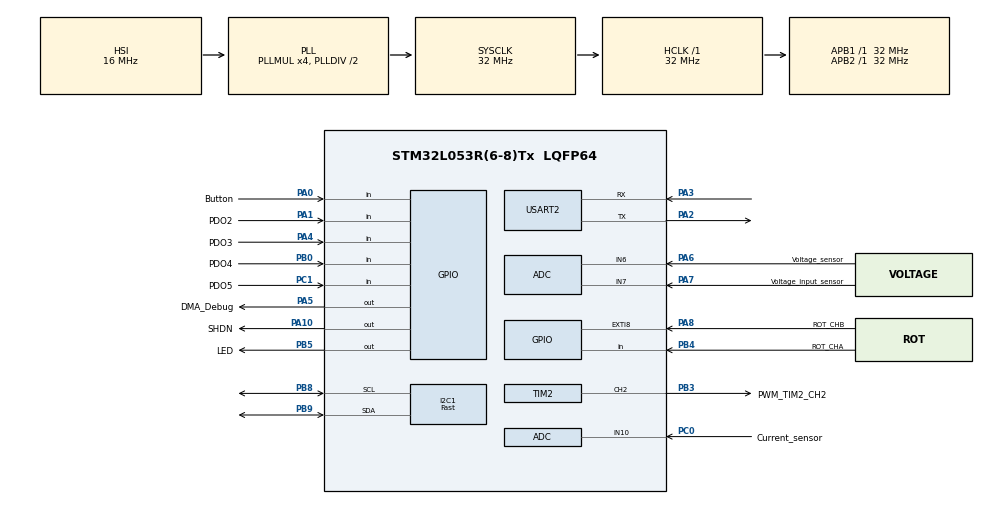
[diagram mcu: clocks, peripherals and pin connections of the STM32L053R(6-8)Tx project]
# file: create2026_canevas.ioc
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ADC.ClockPrescaler=ADC_CLOCK_SYNC_PCLK_DIV2
ADC.ContinuousConvMode=DISABLE
ADC.DMAContinuousRequests=ENABLE
ADC.DiscontinuousConvMode=DISABLE
ADC.EOCSelection=ADC_EOC_SINGLE_CONV
ADC.ExternalTrigConv=ADC_EXTERNALTRIGCONV_T22_TRGO
ADC.ExternalTrigConvEdge=ADC_EXTERNALTRIGCONVEDGE_RISING
ADC.SamplingTime=ADC_SAMPLETIME_79CYCLES_5
Dma.ADC.0.Direction=DMA_PERIPH_TO_MEMORY
Dma.ADC.0.Instance=DMA1_Channel1
Dma.ADC.0.MemDataAlignment=DMA_MDATAALIGN_HALFWORD
Dma.ADC.0.MemInc=DMA_MINC_ENABLE
Dma.ADC.0.Mode=DMA_CIRCULAR
Dma.ADC.0.PeriphDataAlignment=DMA_PDATAALIGN_HALFWORD
Dma.ADC.0.PeriphInc=DMA_PINC_DISABLE
Dma.ADC.0.Priority=DMA_PRIORITY_VERY_HIGH
Dma.Request0=ADC
Dma.Request1=TIM2_CH2
Dma.TIM2_CH2.1.Direction=DMA_MEMORY_TO_PERIPH
Dma.TIM2_CH2.1.Instance=DMA1_Channel3
Dma.TIM2_CH2.1.MemDataAlignment=DMA_MDATAALIGN_HALFWORD
Dma.TIM2_CH2.1.MemInc=DMA_MINC_ENABLE
Dma.TIM2_CH2.1.Mode=DMA_CIRCULAR
Dma.TIM2_CH2.1.PeriphDataAlignment=DMA_PDATAALIGN_HALFWORD
Dma.TIM2_CH2.1.PeriphInc=DMA_PINC_DISABLE
Dma.TIM2_CH2.1.Priority=DMA_PRIORITY_HIGH
I2C1.I2C_Speed_Mode=I2C_Fast
I2C1.Timing=0x0060112F
Mcu.Family=STM32L0
Mcu.Name=STM32L053R(6-8)Tx
Mcu.Package=LQFP64
NVIC.ADC1_COMP_IRQn=true\:0\:0\:false\:false\:true\:true\:true\:true
NVIC.DMA1_Channel1_IRQn=true\:0\:0\:false\:false\:true\:false\:true\:true
NVIC.DMA1_Channel2_3_IRQn=true\:0\:0\:false\:false\:true\:false\:true\:true
NVIC.EXTI4_15_IRQn=true\:2\:0\:true\:false\:true\:true\:true\:true
NVIC.TIM22_IRQn=true\:0\:0\:false\:false\:true\:true\:true\:true
NVIC.TIM2_IRQn=true\:0\:0\:false\:false\:true\:true\:true\:true
PA0.GPIO_Label=Button
PA0.GPIO_PuPd=GPIO_PULLUP
PA0.Signal=GPIO_Input
PA1.GPIO_Label=PDO2
PA1.GPIO_PuPd=GPIO_PULLUP
PA1.Signal=GPIO_Input
PA10.GPIO_Label=SHDN
PA10.PinState=GPIO_PIN_SET
PA10.Signal=GPIO_Output
PA2.Mode=Asynchronous
PA2.Signal=USART2_TX
PA3.Mode=Asynchronous
PA3.Signal=USART2_RX
PA4.GPIO_Label=PDO3
PA4.GPIO_PuPd=GPIO_PULLUP
PA4.Signal=GPIO_Input
PA5.GPIO_Label=DMA_Debug
PA5.Signal=GPIO_Output
PA6.GPIO_Label=Voltage_sensor
PA6.Mode=IN6
PA6.Signal=ADC_IN6
PA7.GPIO_Label=Voltage_input_sensor
PA7.Mode=IN7
PA7.Signal=ADC_IN7
PA8.GPIO_Label=ROT_CHB
PA8.GPIO_ModeDefaultEXTI=GPIO_MODE_IT_RISING_FALLING
PA8.GPIO_PuPd=GPIO_PULLUP
PA8.Signal=GPXTI8
PB0.GPIO_Label=PDO4
PB0.GPIO_PuPd=GPIO_PULLUP
PB0.Signal=GPIO_Input
PB3.GPIO_Label=PWM_TIM2_CH2
PB3.Signal=S_TIM2_CH2
PB4.GPIO_Label=ROT_CHA
PB4.GPIO_PuPd=GPIO_PULLUP
PB4.Signal=GPIO_Input
PB5.GPIO_Label=LED
PB5.GPIO_ModeDefaultOutputPP=GPIO_MODE_OUTPUT_PP
PB5.GPIO_PuPd=GPIO_NOPULL
PB5.PinState=GPIO_PIN_RESET
PB5.Signal=GPIO_Output
PB8.Mode=I2C
PB8.Signal=I2C1_SCL
PB9.Mode=I2C
PB9.Signal=I2C1_SDA
PC0.GPIO_Label=Current_sensor
PC0.Mode=IN10
PC0.Signal=ADC_IN10
PC1.GPIO_Label=PDO5
PC1.GPIO_PuPd=GPIO_PULLUP
PC1.Signal=GPIO_Input
ProjectManager.HeapSize=0x200
ProjectManager.StackSize=0x400
ProjectManager.TargetToolchain=STM32CubeIDE
RCC.AHBFreq_Value=32000000
RCC.APB1Freq_Value=32000000
RCC.APB1TimFreq_Value=32000000
RCC.APB2Freq_Value=32000000
RCC.APB2TimFreq_Value=32000000
RCC.HCLKFreq_Value=32000000
RCC.HSE_VALUE=8000000
RCC.HSI16_VALUE=16000000
RCC.HSI48_VALUE=48000000
RCC.HSI_VALUE=16000000
RCC.LSE_VALUE=32768
RCC.MSI_VALUE=2097000
RCC.PLLMUL=RCC_PLLMUL_4
RCC.SYSCLKFreq_VALUE=32000000
RCC.SYSCLKSource=RCC_SYSCLKSOURCE_PLLCLK
RCC.VCOOutputFreq_Value=64000000
SH.S_TIM2_CH2.0=TIM2_CH2,PWM Generation2 CH2
TIM2.AutoReloadPreload=TIM_AUTORELOAD_PRELOAD_ENABLE
TIM2.Channel-PWM\ Generation2\ CH2=TIM_CHANNEL_2
TIM2.Period=256-1
TIM2.Pulse-PWM\ Generation2\ CH2=0
TIM2.TIM_MasterOutputTrigger=TIM_TRGO_UPDATE
TIM22.AutoReloadPreload=TIM_AUTORELOAD_PRELOAD_ENABLE
TIM22.Channel-Output\ Compare1\ No\ Output=TIM_CHANNEL_1
TIM22.OC1Preload=DISABLE
TIM22.Period=32-1
TIM22.Prescaler=1-1
TIM22.Pulse-Output\ Compare1\ No\ Output=0
TIM22.TIM_MasterOutputTrigger=TIM_TRGO_UPDATE
USART2.VirtualMode-Asynchronous=VM_ASYNC
VP_TIM22_VS_ClockSourceITR.Mode=TriggerSource_ITR1
VP_TIM22_VS_ControllerModeClock.Mode=Clock Mode
VP_TIM22_VS_no_output1.Mode=Output Compare1 No Output
board=custom

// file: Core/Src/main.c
/* USER CODE BEGIN Header */
/**
 ******************************************************************************
 * @file           : main.c
 * @brief          : Main program body
 ******************************************************************************
 * @attention
 *
 * Copyright (c) 2026 STMicroelectronics.
 * All rights reserved.
 *
 * This software is licensed under terms that can be found in the LICENSE file
 * in the root directory of this software component.
 * If no LICENSE file comes with this software, it is provided AS-IS.
 *
 ******************************************************************************
 */
/* USER CODE END Header */
#include "main.h"
#include "adc.h"
#include "dma.h"
#include "i2c.h"
#include "tim.h"
#include "usart.h"
#include "gpio.h"

/* USER CODE BEGIN Includes */
#include <string.h>
#include <stdio.h>
#include <stdbool.h>
#include <math.h>
#include "ssd1306/ssd1306.h"
/* USER CODE END Includes */

/* USER CODE BEGIN PD */
#define ADC_BUF_LEN 3

#define PWM_BUFFER_SIZE 32
#define PWM_HALFBUFFER_SIZE 16
#define DITHER_RES 8

#define COR_ALPHA_BUFFER_SIZE 3
#define COR_VMES_BUFFER_SIZE 3
#define COR_VMI_BUFFER_SIZE 3
#define COR_VREF_BUFFER_SIZE 3
#define COR_VCONTRE_BUFFER_SIZE 3
#define COR_VREFPRIME_BUFFER_SIZE 3
#define COR_EPSILON_BUFFER_SIZE 3

#define NB_ECRAN 4

#define SCALE 65536
enum rotary_direction {
	DIRECTION_NONE, DIRECTION_CW, DIRECTION_CCW, NUM_OF_DIRECTIONS
};

/* USER CODE END PD */

/* USER CODE BEGIN PV */
static uint8_t rotary_state;
static uint8_t rotary_counter = 0;
static int8_t rotary_direction = DIRECTION_NONE;

static uint8_t ecran = 0;

static bool btn = true;
static bool prev_btn = true;

uint32_t voltage_in_ADC = 0;
uint32_t voltage_out_ADC = 0;
uint32_t current_ADC = 0;

float voltage_in = 0;
float voltage_out = 0;
float current = 0;
float voltage_ref = 0;
float power = 0;
float energy = 0;

uint16_t adc_buf[ADC_BUF_LEN];

uint32_t corAlpha[COR_ALPHA_BUFFER_SIZE];
uint32_t corVref[COR_VMES_BUFFER_SIZE];
uint32_t corVmes[COR_VREF_BUFFER_SIZE];

//float Hz[] = { 0, 35.28, 18.32, 0.9834, 0.2503 };
//float Gz[] = { 0.09683, 0.07675, 0, -1.326, 0.4996 };
//float Fz[] = { 1.284, 0.5245, 0, 0.6743, 0.1345 };
//float Cz[] = { 0.01865, 0.01834, 0.004668, 0, 0 };
double PIDFz[] = { 0.003238, 0.003184, 0.0008103, -1.44, 0.4403 };
#define P0f 0.003238f
#define P1f 0.003184f
#define P2f 0.0008103f
#define P3f -1.44f
#define P4f 0.4403f

uint32_t P0 = 212;
uint32_t P1 = 209;
uint32_t P2 = 53;
uint32_t P3 = 94372;
uint32_t P4 = 28856;

uint8_t ComputeControle = 0;
uint8_t BoucleFermee = 0;

// Tramage (dithering)
uint16_t pwm_buffer[PWM_BUFFER_SIZE];
uint8_t pwm_pulse = 0;

/* USER CODE END PV */

void SystemClock_Config(void);
/* USER CODE BEGIN PFP */

// Human interface
void Update_Display(void);

// USB Power Delivery requests
uint8_t Read_USB_PDO(void);
void Test_STUSB_I2C(void);
void Set_STUSB_Available_Profiles(uint8_t num_profiles);

// Voltage controller
uint8_t Compute_control_input(uint32_t Vref, uint32_t Vmes);
void TransferComplete(DMA_HandleTypeDef *hdma);
void TransferHalfComplete(DMA_HandleTypeDef *hdma);

/* USER CODE END PFP */

int main(void) {

	/* MCU Configuration--------------------------------------------------------*/

	/* Reset of all peripherals, Initializes the Flash interface and the Systick. */
	HAL_Init();

	/* Configure the system clock */
	SystemClock_Config();

	/* Initialize all configured peripherals */
	MX_GPIO_Init();
	MX_DMA_Init();
	MX_ADC_Init();
	MX_I2C1_Init();
	MX_USART2_UART_Init();
	MX_TIM2_Init();
	MX_TIM22_Init();

	/* USER CODE BEGIN 2 */

	// Initialize screen
	ssd1306_Init();
	ssd1306_Fill(Black);
	ssd1306_UpdateScreen();

	HAL_TIM_PWM_Start(&htim2, TIM_CHANNEL_3);

	HAL_ADC_Start_DMA(&hadc, (uint32_t*) adc_buf, ADC_BUF_LEN);

	// Start PWM timer
	HAL_TIM_PWM_Start_DMA(&htim2, TIM_CHANNEL_2, (uint32_t*) pwm_buffer,
	PWM_BUFFER_SIZE);

	// Start main timer
	htim2.hdma[TIM_DMA_ID_CC2]->XferCpltCallback = TransferComplete;
	htim2.hdma[TIM_DMA_ID_CC2]->XferHalfCpltCallback = TransferHalfComplete;
	HAL_TIM_Base_Start_IT(&htim22);

	// Switch off user LED
	HAL_GPIO_WritePin(LED_GPIO_Port, LED_Pin, 0);

	//Enable MP8040 pin PA10 (activation V sortie )
	HAL_GPIO_WritePin(SHDN_GPIO_Port, SHDN_Pin, 0);

	for (int i = 0; i < COR_ALPHA_BUFFER_SIZE; i++) {
		corAlpha[i] = 0;
	}
	for (int i = 0; i < COR_VREF_BUFFER_SIZE; i++) {
		corVref[i] = 0;
	}

	for (int i = 0; i < COR_VMES_BUFFER_SIZE; i++) {
		corVmes[i] = 0;
	}

	/* USER CODE END 2 */

	/* Infinite loop */
	while (1) {

		/* USER CODE BEGIN 3 */

		//MàJ bouton
		prev_btn = btn;
		btn = HAL_GPIO_ReadPin(Button_GPIO_Port, Button_Pin);

		// 1.1 Menu et navigation
		Update_Display();

		/* Reading PDOs TOR inputs
		 * Code :
		 *  PDO = 0x000ABCD
		 *  A = PDO2
		 *  B = PDO3
		 *  C = PDO4
		 *  D = PDO5
		 */
		uint8_t PDO2 = HAL_GPIO_ReadPin(PDO2_GPIO_Port, PDO2_Pin);
		uint8_t PDO3 = HAL_GPIO_ReadPin(PDO3_GPIO_Port, PDO3_Pin);
		uint8_t PDO4 = HAL_GPIO_ReadPin(PDO4_GPIO_Port, PDO4_Pin);
		uint8_t PDO5 = HAL_GPIO_ReadPin(PDO5_GPIO_Port, PDO5_Pin);
		uint8_t PDO = (PDO5 << 3) | (PDO4 << 2) | (PDO3 << 1) | PDO2;

		/* Decoding PDOs
		 *  PDO2 = 5V
		 *  PDO3 = 9V
		 *  PDO4 = 12V
		 *  PDO5 = 15V
		 */
		switch (PDO) {
		case 0b00001110:
			voltage_ref = 5;
			break;
		case 0b00001101:
			voltage_ref = 9;
			break;
		case 0b00001011:
			voltage_ref = 12;
			break;
		case 0b00000111:
			voltage_ref = 15;
			break;
		}
		/*
		 if (ComputeControle) {
		 ComputeControle = 0;

		 uint32_t controle = Compute_control_input(voltage_ref, voltage_out);
		 pwm_pulse = (uint8_t) controle;

		 if (ComputeControle) {
		 printf("Not real time");
		 }
		 }
		 */

		// TODO
		// 4.1 Lecture PDO et asservissement
		// TODO
		// 2.3 Calcul énergie et Puissance
		power = voltage_out * current;//(W)
		energy += power * 0.025;		//(J)

		// Delay
		HAL_Delay(25);
	}
	/* USER CODE END 3 */
}

void SystemClock_Config(void) {
	RCC_OscInitTypeDef RCC_OscInitStruct = { 0 };
	RCC_ClkInitTypeDef RCC_ClkInitStruct = { 0 };
	RCC_PeriphCLKInitTypeDef PeriphClkInit = { 0 };

	/** Configure the main internal regulator output voltage
	 */
	__HAL_PWR_VOLTAGESCALING_CONFIG(PWR_REGULATOR_VOLTAGE_SCALE1);

	/** Initializes the RCC Oscillators according to the specified parameters
	 * in the RCC_OscInitTypeDef structure.
	 */
	RCC_OscInitStruct.OscillatorType = RCC_OSCILLATORTYPE_HSI;
	RCC_OscInitStruct.HSIState = RCC_HSI_ON;
	RCC_OscInitStruct.HSICalibrationValue = RCC_HSICALIBRATION_DEFAULT;
	RCC_OscInitStruct.PLL.PLLState = RCC_PLL_ON;
	RCC_OscInitStruct.PLL.PLLSource = RCC_PLLSOURCE_HSI;
	RCC_OscInitStruct.PLL.PLLMUL = RCC_PLLMUL_4;
	RCC_OscInitStruct.PLL.PLLDIV = RCC_PLLDIV_2;
	if (HAL_RCC_OscConfig(&RCC_OscInitStruct) != HAL_OK) {
		Error_Handler();
	}

	/** Initializes the CPU, AHB and APB buses clocks
	 */
	RCC_ClkInitStruct.ClockType = RCC_CLOCKTYPE_HCLK | RCC_CLOCKTYPE_SYSCLK
			| RCC_CLOCKTYPE_PCLK1 | RCC_CLOCKTYPE_PCLK2;
	RCC_ClkInitStruct.SYSCLKSource = RCC_SYSCLKSOURCE_PLLCLK;
	RCC_ClkInitStruct.AHBCLKDivider = RCC_SYSCLK_DIV1;
	RCC_ClkInitStruct.APB1CLKDivider = RCC_HCLK_DIV1;
	RCC_ClkInitStruct.APB2CLKDivider = RCC_HCLK_DIV1;

	if (HAL_RCC_ClockConfig(&RCC_ClkInitStruct, FLASH_LATENCY_1) != HAL_OK) {
		Error_Handler();
	}
	PeriphClkInit.PeriphClockSelection = RCC_PERIPHCLK_USART2
			| RCC_PERIPHCLK_I2C1;
	PeriphClkInit.Usart2ClockSelection = RCC_USART2CLKSOURCE_PCLK1;
	PeriphClkInit.I2c1ClockSelection = RCC_I2C1CLKSOURCE_PCLK1;
	if (HAL_RCCEx_PeriphCLKConfig(&PeriphClkInit) != HAL_OK) {
		Error_Handler();
	}
}

/* USER CODE BEGIN 4 */

/*** IHM ***/

/*** USB Power Delivery Objects ***/

void Test_STUSB_I2C(void) {
	char msg[60];
	uint8_t id;
	// Device I2C address : 0x28
	// Device ID register : 0x2F
	int ret = HAL_I2C_Mem_Read(&hi2c1, (0x28 << 1), 0x70, 1, &id, 1,
			0xFFFFFFFF);
	if (ret == HAL_OK) {
		sprintf(msg, "STUSB I2C test success\r\n");
	} else {
		sprintf(msg, "STUSB I2C test error %d\r\n", ret);
	}
	HAL_UART_Transmit(&huart2, (uint8_t*) msg, strlen(msg), HAL_MAX_DELAY);
}

void Set_STUSB_Available_Profiles(uint8_t num_profiles) {
	// TODO
	// 4.3 Programmation PDOs

	/** Documentation for write number of available profiles
	 * I2C communication:
	 * Use HAL_I2C_Mem_Read and HAL_I2C_Mem_Write functions to directly read/write into register
	 * WRN: Device address is 0x28 but should be passed shifted (0x28 << 1) to those functions
	 * Cf. Test_STUSB_I2C function
	 *
	 * Register 0x70 DPM_PDO_NUMB
	 * bit [7:5] DPM_SRC_PDO_NUMB <--- Number of source profiles available
	 * bit [4:3] reserved
	 * bis [2:0] DPM_SNK_PDO_NUMB
	 *
	 * Procedure :
	 * 1) Set device into reset state : write 0x01 to register 0x23
	 * 2) Write new value to regsiter 0x70, for ex. 0xA3 to set all 5 profiles available (1010001)
	 * Or write for example 0x23 to set only one profile available (00100011)
	 * 3) Set device back to normal mode : write 0x04 to register 0x23
	 */
}

/*** Voltage controller ***/

uint8_t Compute_control_input(uint32_t Vref, uint32_t Vmes) {

	uint8_t pwm_result = 0;
	if(BoucleFermee)
	{
		// TODO
			// 3.2 Régulation

			// Shifting buffer
			corAlpha[2] = corAlpha[1];
			corAlpha[1] = corAlpha[0];
			corVmes[2] = corVmes[1];
			corVmes[1] = corVmes[0];
			corVref[2] = corVref[1];
			corVref[1] = corVref[0];

			// Storing new voltage valuesé
			corVref[0] = Vref;
			corVmes[0] = Vmes;

			// Computing alpha
			uint64_t eps0 = (uint64_t) ((corVref[0] - corVmes[0]) * 65536.0);
			uint64_t eps1 = (uint64_t) ((corVref[1] - corVmes[1]) * 65536.0);
			uint64_t eps2 = (uint64_t) ((corVref[2] - corVmes[2]) * 65536.0);

			uint64_t alpha1 = (uint64_t) ((corAlpha[1]) * 65536.0);
			uint64_t alpha2 = (uint64_t) ((corAlpha[2]) * 65536.0);

			uint64_t newAlpha = (P0 * eps0 + P1 * eps1 + P2 * eps2 + P3 * alpha1
					- P4 * alpha2) >> 16;
			/*
			 corVmi[0] = Hz[1] * corAlpha[1] + Hz[2] * corAlpha[2] - Hz[3] * corVmi[1]
			 - Hz[4] * corVmi[2];

			 corVcontre[0] = Fz[0] * (corVmes[0] - corVmi[0])
			 + Fz[1] * (corVmes[1] - corVmi[1]) - Fz[3] * corVcontre[1]
			 - Fz[4] * corVcontre[2];

			 corVrefprime[0] = Gz[0] * corVref[0] + Gz[1] * corVref[1]
			 - Gz[3] * corVrefprime[1] - Gz[4] * corVrefprime[2];

			 corAlpha[0] = Cz[0] * (corVrefprime[0] - corVcontre[0])
			 + Cz[1] * (corVrefprime[1] - corVcontre[1])
			 + Cz[2] * (corVrefprime[2] - corVcontre[2]);
			 */
			corAlpha[0] = (float) newAlpha / 65536.0;

			pwm_result = (uint8_t) (corAlpha[0] * 255.0);
			if (pwm_result > 255)
				pwm_result = 255;
			if (pwm_result < 0)
				pwm_result = 0;
	}else{
		pwm_result = (uint8_t)((voltage_ref/voltage_in)*255.0);
	}

	return pwm_result;
}

/*******************************************************************
 * INTERRUPTS
 *******************************************************************/

void HAL_ADC_ConvCpltCallback(ADC_HandleTypeDef *hadc) {

	// DONE
	// 2.1 Conversion Analogique-Numérique
	//Acquire ADC values
	voltage_in_ADC = adc_buf[1];
	voltage_out_ADC = adc_buf[0];
	current_ADC = adc_buf[2];

	// 2.2 Etalonage
	voltage_in = ((float) voltage_in_ADC - 62) / 134.4;
	voltage_out = ((float) voltage_out_ADC - 62) / 134.4;
	current = ((float)current_ADC*-0.003424)+14.02128;

	// TODO
	// 3.1 Gestion PWM
	//ComputeControle = 1;
	pwm_pulse = Compute_control_input(voltage_ref, voltage_out);
	// TODO
	// 4.2 Protection

}

void TransferComplete(DMA_HandleTypeDef *hdma) {
	//TODO
	// 3.3 Filtrage sortie

	for (int i = 0; i < PWM_HALFBUFFER_SIZE; i++) {
		pwm_buffer[i + PWM_HALFBUFFER_SIZE] = pwm_pulse;
	}
}

void TransferHalfComplete(DMA_HandleTypeDef *hdma) {
	//TODO
	// 3.3 Filtrage sortie

	for (int i = 0; i < PWM_HALFBUFFER_SIZE; i++) {
		pwm_buffer[i] = pwm_pulse;

	}
}

void Rotary_Encoder_Interrupt_Handler(void) {
	static int8_t rotary_buffer = 0;
	/* Check for rotary encoder turned clockwise or counter-clockwise */
	uint8_t rotary_new = HAL_GPIO_ReadPin(ROT_CHA_GPIO_Port, ROT_CHA_Pin) << 1;
	rotary_new += HAL_GPIO_ReadPin(ROT_CHB_GPIO_Port, ROT_CHB_Pin);
	if (rotary_new != rotary_state) {
		if (((rotary_state == 0b00) && (rotary_new == 0b10))
				|| ((rotary_state == 0b10) && (rotary_new == 0b11))
				|| ((rotary_state == 0b11) && (rotary_new == 0b01))
				|| ((rotary_state == 0b01) && (rotary_new == 0b00))) {
			rotary_buffer++;
		}
		if (((rotary_state == 0b00) && (rotary_new == 0b01))
				|| ((rotary_state == 0b01) && (rotary_new == 0b11))
				|| ((rotary_state == 0b11) && (rotary_new == 0b10))
				|| ((rotary_state == 0b10) && (rotary_new == 0b00))) {
			rotary_buffer--;
		}
		rotary_state = rotary_new;
		/* Filter rotation due to high number of positions */
		if (rotary_buffer > 2) {
			rotary_counter++;
			if (ecran < (NB_ECRAN - 1) * 10) {
				ecran = (ecran / 10 + 1) * 10;
			} else {
				ecran = 0;
			}

			rotary_direction = DIRECTION_CW;
			rotary_buffer = 0;
		}
		if (rotary_buffer < -2) {
			rotary_counter--;
			rotary_direction = DIRECTION_CCW;
			rotary_buffer = 0;
			if (ecran > 0) {
				ecran = (ecran / 10 - 1) * 10;
			} else {
				ecran = (NB_ECRAN - 1) * 10;
			}
		}

	}
}

void Update_Display(void) {
	//Préparation affichages
	char line1_str[20] = { 0 };
	char line2_str[20] = { 0 };

	//State machine (Display)
	ssd1306_Fill(Black);
	char title_str[20] = { 0 };
	switch (ecran) {
	case 0:
		sprintf(title_str, "Page 1 - ADC");
		sprintf(line1_str, "Vi:%04u   Vo:%04u", (uint16_t) voltage_in_ADC,
				(uint16_t) voltage_out_ADC);
		sprintf(line2_str, "Io:%04u", (uint16_t) current_ADC);
		ssd1306_SetCursor(0, 0);
		ssd1306_WriteString(title_str, Font_7x10, White);
		ssd1306_SetCursor(0, 11);
		ssd1306_WriteString(line1_str, Font_7x10, White);
		ssd1306_SetCursor(0, 22);
		ssd1306_WriteString(line2_str, Font_7x10, White);
		ssd1306_UpdateScreen();
		break;
	case 10:
		sprintf(title_str, "Page 2-1 ADC conv");
		sprintf(line1_str, "Vi:%.2f (V)", (float) voltage_in);
		ssd1306_SetCursor(0, 0);
		ssd1306_WriteString(title_str, Font_7x10, White);
		ssd1306_SetCursor(0, 11);
		ssd1306_WriteString(line1_str, Font_7x10, White);
		ssd1306_UpdateScreen();
		break;
	case 11:
		sprintf(title_str, "Page 2-2 ADC conv");
		sprintf(line1_str, "Vo:%.2f (V)", (float) voltage_out);
		ssd1306_SetCursor(0, 0);
		ssd1306_WriteString(title_str, Font_7x10, White);
		ssd1306_SetCursor(0, 11);
		ssd1306_WriteString(line1_str, Font_7x10, White);
		ssd1306_UpdateScreen();
		break;
	case 12:
		sprintf(title_str, "Page 2-3 ADC conv");
		sprintf(line1_str, "Io:%.2f (A)", current);
		ssd1306_SetCursor(0, 0);
		ssd1306_WriteString(title_str, Font_7x10, White);
		ssd1306_SetCursor(0, 11);
		ssd1306_WriteString(line1_str, Font_7x10, White);
		ssd1306_UpdateScreen();
		break;
	case 20:
		sprintf(title_str, "Page 3");
		if(BoucleFermee)
		{
			sprintf(line1_str, "Fonctionnement:BF");
		}else{
			sprintf(line1_str, "Fonctionnement:BO");
		}
		sprintf(line2_str, "Switch by pushing");
		if (BoucleFermee) {
			sprintf(line1_str, "Fonctionnement:BF");
		} else {
			sprintf(line1_str, "Fonctionnement:BO");
		}
		sprintf(line2_str, "Push to switch");
		ssd1306_SetCursor(0, 0);
		ssd1306_WriteString(title_str, Font_7x10, White);
		ssd1306_SetCursor(0, 11);
		ssd1306_WriteString(line1_str, Font_7x10, White);
		ssd1306_SetCursor(0, 22);
		ssd1306_WriteString(line2_str, Font_7x10, White);
		ssd1306_UpdateScreen();
		break;
	case 30:
		sprintf(title_str, "Page 4 - Puissance");
		sprintf(line1_str, "P:%.2f (W)", (float) power);
		sprintf(line2_str, "E:%.2f (J)", (float) energy);
		ssd1306_SetCursor(0, 0);
		ssd1306_WriteString(title_str, Font_7x10, White);
		ssd1306_SetCursor(0, 11);
		ssd1306_WriteString(line1_str, Font_7x10, White);
		ssd1306_SetCursor(0, 22);
		ssd1306_WriteString(line1_str, Font_7x10, White);
		ssd1306_SetCursor(0, 22);
		ssd1306_WriteString(line2_str, Font_7x10, White);
		ssd1306_UpdateScreen();
		break;
	}

	//State machine actions
	if (prev_btn < btn) {
		switch (ecran) {
		case 10:
			ecran++;
			break;
		case 11:
			ecran++;
			break;
		case 12:
			ecran = 10;
			break;
		case 20:
			BoucleFermee = !BoucleFermee;
			break;
		}

	}
}

/* USER CODE END 4 */

void Error_Handler(void) {
	__disable_irq();
	while (1) {
	}
}
